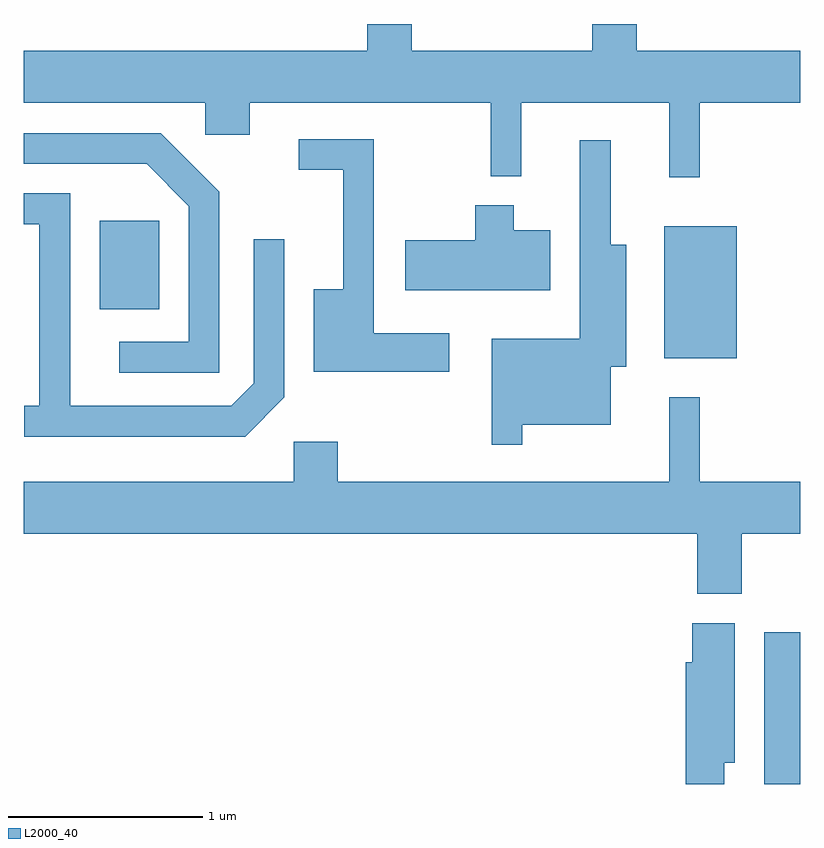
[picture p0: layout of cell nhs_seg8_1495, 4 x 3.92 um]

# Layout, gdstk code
import gdstk
lib = gdstk.Library(unit=1e-6, precision=1e-09)
def R(c, l, rs):  # rectangles x0, y0, x1, y1
    for r in rs: c.add(gdstk.rectangle(r[:2], r[2:], *l))
def P(c, l, *ps):  # polygons
    for p in ps: c.add(gdstk.Polygon(p, *l))
L2000_40 = (2000, 40)

nhs_seg8_1495 = lib.new_cell('nhs_seg8_1495')
R(nhs_seg8_1495, L2000_40, [(233.426,1868.426,233.611,1869.209), (232.911,1870.621,233.284,1871.299), (230.001,1870.871,230.309,1871.329)])
P(nhs_seg8_1495, L2000_40, [(233.094,1871.936),(233.611,1871.936),(233.611,1872.204),(232.769,1872.204),(232.769,1872.342),(232.541,1872.342),(232.541,1872.204),(231.609,1872.204),(231.609,1872.342),(231.381,1872.342),(231.381,1872.204),(229.611,1872.204),(229.611,1871.936),(230.546,1871.936),(230.546,1871.771),(230.774,1871.771),(230.774,1871.936),(232.016,1871.936),(232.016,1871.558),(232.174,1871.558),(232.174,1871.936),(232.936,1871.936),(232.936,1871.553),(233.094,1871.553)],
  [(230.619,1871.477),(230.317,1871.779),(229.611,1871.779),(229.611,1871.621),(230.244,1871.621),(230.461,1871.404),(230.461,1870.704),(230.103,1870.704),(230.103,1870.546),(230.619,1870.546)],
  [(231.804,1870.749),(231.414,1870.749),(231.414,1871.749),(231.028,1871.749),(231.028,1871.591),(231.256,1871.591),(231.256,1870.974),(231.106,1870.974),(231.106,1870.551),(231.804,1870.551)],
  [(232.179,1870.276),(232.634,1870.276),(232.634,1870.576),(232.714,1870.576),(232.714,1871.204),(232.634,1871.204),(232.634,1871.743),(232.476,1871.743),(232.476,1870.719),(232.021,1870.719),(232.021,1870.173),(232.179,1870.173)],
  [(230.954,1870.419),(230.954,1871.233),(230.796,1871.233),(230.796,1870.492),(230.679,1870.374),(229.849,1870.374),(229.849,1871.469),(229.611,1871.469),(229.611,1871.311),(229.691,1871.311),(229.691,1870.374),(229.613,1870.374),(229.613,1870.216),(230.752,1870.216)],
  [(232.324,1871.279),(232.134,1871.279),(232.134,1871.409),(231.936,1871.409),(231.936,1871.229),(231.576,1871.229),(231.576,1870.971),(232.324,1870.971)],
  [(233.309,1869.716),(233.611,1869.716),(233.611,1869.984),(233.094,1869.984),(233.094,1870.418),(232.936,1870.418),(232.936,1869.984),(231.229,1869.984),(231.229,1870.189),(231.001,1870.189),(231.001,1869.984),(229.611,1869.984),(229.611,1869.716),(233.081,1869.716),(233.081,1869.406),(233.309,1869.406)],
  [(233.219,1868.536),(233.274,1868.536),(233.274,1869.254),(233.056,1869.254),(233.056,1869.054),(233.021,1869.054),(233.021,1868.426),(233.219,1868.426)])

lib.write_gds('nhs_seg8_1495.gds')
